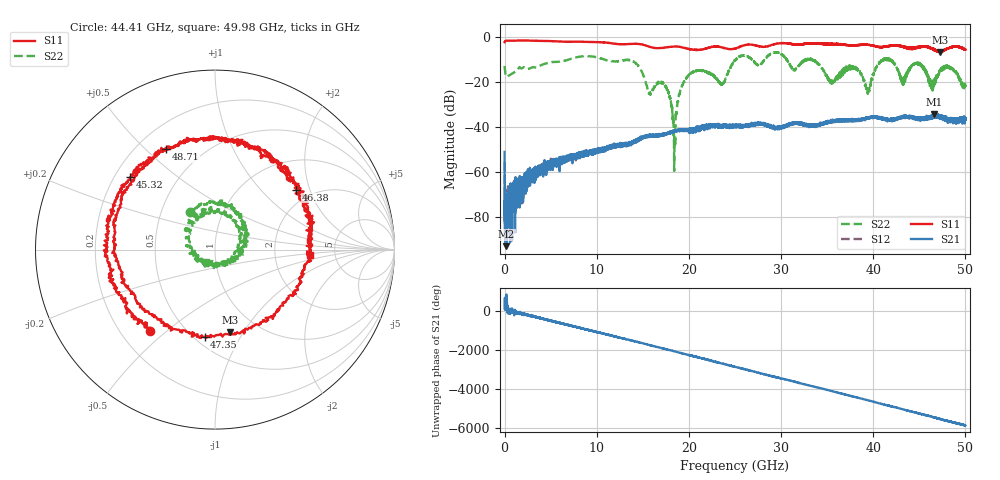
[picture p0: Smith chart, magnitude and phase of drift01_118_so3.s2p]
!Created with skrf (http://scikit-rf.org).
# Hz S RI R 50.0
!freq ReS11 ImS11 ReS21 ImS21 ReS12 ImS12 ReS22 ImS22
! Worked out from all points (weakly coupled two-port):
!   10001 points, 300 kHz to 50 GHz, reference 50 ohm
!   highest |S21| = -34.24 dB at 46.57 GHz (marker M1); lowest = -93.2 dB at 185.3 MHz (marker M2)
!   lowest |S11| = -6.6 dB at 47.24 GHz (marker M3), VSWR 2.77, Z = 37.1 - j43.9 ohm
!   |S11| at or under -10 dB: nowhere
!   |S22| runs from -59.7 to -6.6 dB; largest |S21 - S12| = 0.0042
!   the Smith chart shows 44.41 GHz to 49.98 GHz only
!   S11 on the Smith chart (normalised r, x): 44.41 GHz: 0.32, -0.44; 45.32 GHz: 0.26, +0.35; 46.38 GHz: 1.66, +1.62; 47.35 GHz: 0.56, -0.72; 48.71 GHz: 0.32, +0.58; 49.98 GHz: 3.21, -0.25
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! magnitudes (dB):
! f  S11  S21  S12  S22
! 300 kHz  -2.1  -51.1  -55.8  -12.7
! 185.3 MHz  -1.4  -93.2  -78.3  -17.5
! 8.335 GHz  -1.9  -51.2  -52.3  -8.5
! 16.67 GHz  -4.8  -43.6  -43.8  -20.0
! 17.74 GHz  -4.3  -42.8  -42.7  -24.3
! 18.44 GHz  -4.1  -41.8  -41.8  -45.4
! 19.95 GHz  -5.1  -41.7  -41.5  -17.1
! 23.62 GHz  -4.5  -39.5  -39.5  -20.9
! 25 GHz  -5.0  -39.3  -39.7  -10.3
! 33.34 GHz  -2.6  -39.9  -39.0  -9.9
! 39.45 GHz  -3.3  -36.2  -35.8  -23.7
! 41.67 GHz  -3.8  -36.7  -36.5  -10.2
! 43.19 GHz  -4.0  -35.7  -35.5  -19.9
! 44.41 GHz  -4.7  -36.4  -35.7  -12.0
! 45.32 GHz  -4.1  -35.8  -36.6  -13.3
! 46.38 GHz  -5.0  -35.3  -35.2  -19.3
! 46.57 GHz  -5.4  -34.2  -35.3  -19.7
! 47.24 GHz  -6.6  -35.8  -36.0  -15.4
! 47.35 GHz  -6.2  -35.8  -35.6  -14.1
! 48.71 GHz  -4.1  -37.0  -36.4  -14.3
! 49.98 GHz  -5.6  -36.1  -35.7  -21.3
! 50 GHz  -5.5  -36.2  -36.4  -21.8
